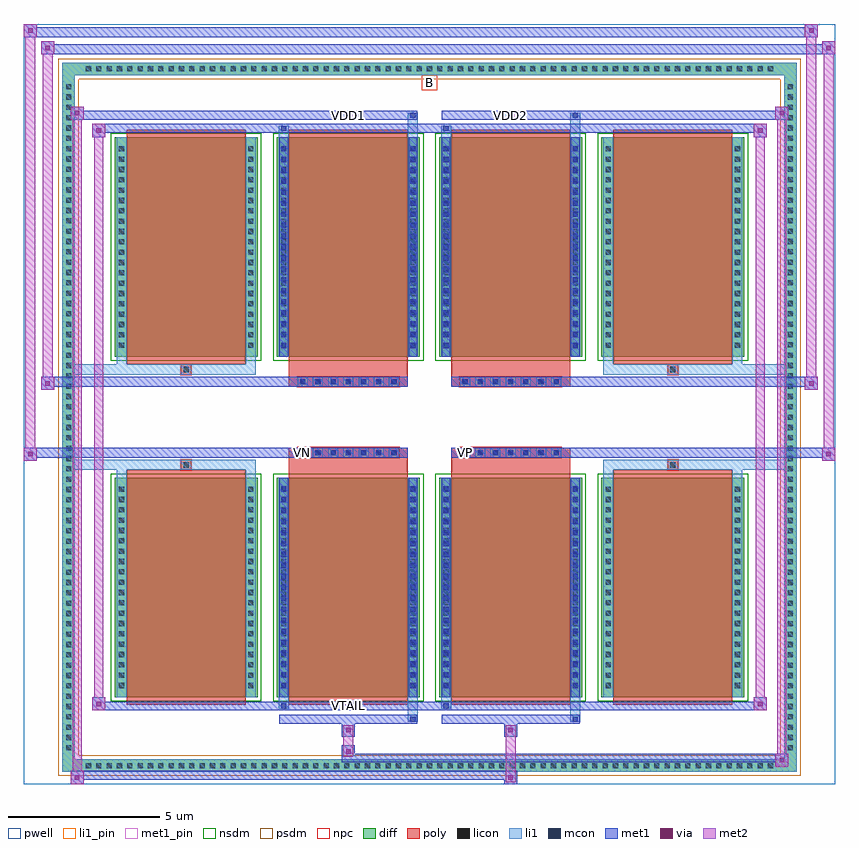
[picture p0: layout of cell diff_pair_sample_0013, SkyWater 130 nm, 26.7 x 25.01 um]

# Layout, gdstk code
import gdstk
lib = gdstk.Library(unit=1e-6, precision=5e-09)
def R(c, l, rs):  # rectangles x0, y0, x1, y1
    for r in rs: c.add(gdstk.rectangle(r[:2], r[2:], *l))
def A(c, l, x, y, w, h, nx, ny, dx, dy):  # array of equal rectangles
    R(c, l, [(x+i*dx, y+j*dy, x+i*dx+w, y+j*dy+h) for i in range(nx) for j in range(ny)])
def P(c, l, *ps):  # polygons
    for p in ps: c.add(gdstk.Polygon(p, *l))
pwell = (64, 44)
diff = (65, 20)
poly = (66, 20)
licon = (66, 44)
li1_pin = (67, 16)
li1 = (67, 20)
mcon = (67, 44)
met1_pin = (68, 16)
met1 = (68, 20)
via = (68, 44)
met2 = (69, 20)
nsdm = (93, 44)
psdm = (94, 20)
npc = (95, 20)

diff_pair_sample_0013 = lib.new_cell('diff_pair_sample_0013')
R(diff_pair_sample_0013, pwell, [(-13.35,-12.07,13.35,12.94), (-10.67,-10.26,-0.01,-0.8), (0.01,-10.26,10.67,-0.8), (-10.67,0.8,-0.01,10.26), (0.01,0.8,10.67,10.26)])
A(diff_pair_sample_0013, diff, -11.425, -11.67, 0.41, 0.41, 67, 2, 0.34, 22.93)
A(diff_pair_sample_0013, diff, -12.08, -11.085, 0.41, 0.41, 1, 65, 0, 0.34)
A(diff_pair_sample_0013, diff, 11.67, -11.085, 0.41, 0.41, 1, 65, 0, 0.34)
A(diff_pair_sample_0013, diff, -10.36, -9.215, 4.7, 7.23, 4, 2, 5.34, 11.2)
R(diff_pair_sample_0013, diff, [(-11.425,-11.67,11.425,-11.26), (-12.08,-11.085,-11.67,11.085), (11.67,-11.085,12.08,11.085), (-11.425,11.26,11.425,11.67)])
P(diff_pair_sample_0013, diff, [(12.08,11.67),(-12.08,11.67),(-12.08,-11.26),(-11.67,-11.26),(-11.67,11.26),(11.67,11.26),(11.67,-11.26),(-11.67,-11.26),(-12.08,-11.26),(-12.08,-11.67),(12.08,-11.67)])
A(diff_pair_sample_0013, poly, -9.97, -9.465, 3.92, 7.73, 4, 2, 5.34, 11.2)
A(diff_pair_sample_0013, poly, -4.335, -1.33, 0.33, 0.33, 7, 2, 0.5, 2.33)
A(diff_pair_sample_0013, poly, 1.005, -1.33, 0.33, 0.33, 7, 2, 0.5, 2.33)
R(diff_pair_sample_0013, poly, [(-8.175,-1.735,-7.845,-1.405), (-8.175,-1.735,-7.845,-1.405), (-4.63,-1.735,-0.71,-1.33), (0.71,-1.735,4.63,-1.33), (7.845,-1.735,8.175,-1.405), (7.845,-1.735,8.175,-1.405), (-4.63,-1.33,-0.71,-1), (0.71,-1.33,4.63,-1), (-4.63,1,-0.71,1.33), (0.71,1,4.63,1.33), (-4.63,1.33,-0.71,1.735), (0.71,1.33,4.63,1.735), (-8.175,1.405,-7.845,1.735), (-8.175,1.405,-7.845,1.735), (7.845,1.405,8.175,1.735), (7.845,1.405,8.175,1.735)])
A(diff_pair_sample_0013, licon, -11.305, -11.55, 0.17, 0.17, 67, 2, 0.34, 22.93)
A(diff_pair_sample_0013, licon, -11.96, -10.965, 0.17, 0.17, 1, 65, 0, 0.34)
A(diff_pair_sample_0013, licon, 11.79, -10.965, 0.17, 0.17, 1, 65, 0, 0.34)
A(diff_pair_sample_0013, licon, -10.22, -8.915, 0.17, 0.17, 1, 20, 0, 0.34)
A(diff_pair_sample_0013, licon, -5.97, -8.915, 0.17, 0.17, 1, 20, 0, 0.34)
A(diff_pair_sample_0013, licon, -4.88, -8.915, 0.17, 0.17, 1, 20, 0, 0.34)
A(diff_pair_sample_0013, licon, -0.63, -8.915, 0.17, 0.17, 1, 20, 0, 0.34)
A(diff_pair_sample_0013, licon, 0.46, -8.915, 0.17, 0.17, 1, 20, 0, 0.34)
A(diff_pair_sample_0013, licon, 4.71, -8.915, 0.17, 0.17, 1, 20, 0, 0.34)
A(diff_pair_sample_0013, licon, 5.8, -8.915, 0.17, 0.17, 1, 20, 0, 0.34)
A(diff_pair_sample_0013, licon, 10.05, -8.915, 0.17, 0.17, 1, 20, 0, 0.34)
A(diff_pair_sample_0013, licon, -4.255, -1.25, 0.17, 0.17, 7, 2, 0.5, 2.33)
A(diff_pair_sample_0013, licon, 1.085, -1.25, 0.17, 0.17, 7, 2, 0.5, 2.33)
A(diff_pair_sample_0013, licon, -10.22, 2.285, 0.17, 0.17, 1, 20, 0, 0.34)
A(diff_pair_sample_0013, licon, -5.97, 2.285, 0.17, 0.17, 1, 20, 0, 0.34)
A(diff_pair_sample_0013, licon, -4.88, 2.285, 0.17, 0.17, 1, 20, 0, 0.34)
A(diff_pair_sample_0013, licon, -0.63, 2.285, 0.17, 0.17, 1, 20, 0, 0.34)
A(diff_pair_sample_0013, licon, 0.46, 2.285, 0.17, 0.17, 1, 20, 0, 0.34)
A(diff_pair_sample_0013, licon, 4.71, 2.285, 0.17, 0.17, 1, 20, 0, 0.34)
A(diff_pair_sample_0013, licon, 5.8, 2.285, 0.17, 0.17, 1, 20, 0, 0.34)
A(diff_pair_sample_0013, licon, 10.05, 2.285, 0.17, 0.17, 1, 20, 0, 0.34)
R(diff_pair_sample_0013, licon, [(-8.095,-1.655,-7.925,-1.485), (7.925,-1.655,8.095,-1.485), (-8.095,1.485,-7.925,1.655), (7.925,1.485,8.095,1.655)])
R(diff_pair_sample_0013, li1_pin, [(-0.25,10.76,0.25,11.26)])
A(diff_pair_sample_0013, li1, -11.385, -11.63, 0.33, 0.33, 67, 2, 0.34, 22.93)
A(diff_pair_sample_0013, li1, -12.04, -11.045, 0.33, 0.33, 1, 65, 0, 0.34)
A(diff_pair_sample_0013, li1, 11.71, -11.045, 0.33, 0.33, 1, 65, 0, 0.34)
A(diff_pair_sample_0013, li1, -10.3, -8.995, 0.33, 0.33, 1, 20, 0, 0.34)
A(diff_pair_sample_0013, li1, -6.05, -8.995, 0.33, 0.33, 1, 20, 0, 0.34)
A(diff_pair_sample_0013, li1, -4.96, -8.995, 0.33, 0.33, 1, 20, 0, 0.34)
A(diff_pair_sample_0013, li1, -0.71, -8.995, 0.33, 0.33, 1, 20, 0, 0.34)
A(diff_pair_sample_0013, li1, 0.38, -8.995, 0.33, 0.33, 1, 20, 0, 0.34)
A(diff_pair_sample_0013, li1, 4.63, -8.995, 0.33, 0.33, 1, 20, 0, 0.34)
A(diff_pair_sample_0013, li1, 5.72, -8.995, 0.33, 0.33, 1, 20, 0, 0.34)
A(diff_pair_sample_0013, li1, 9.97, -8.995, 0.33, 0.33, 1, 20, 0, 0.34)
A(diff_pair_sample_0013, li1, -4.88, -8.925, 0.17, 0.17, 1, 19, 0, 0.36)
A(diff_pair_sample_0013, li1, -0.63, -8.925, 0.17, 0.17, 1, 19, 0, 0.36)
A(diff_pair_sample_0013, li1, 0.46, -8.925, 0.17, 0.17, 1, 19, 0, 0.36)
A(diff_pair_sample_0013, li1, 4.71, -8.925, 0.17, 0.17, 1, 19, 0, 0.36)
A(diff_pair_sample_0013, li1, -4.335, -1.33, 0.33, 0.33, 7, 2, 0.5, 2.33)
A(diff_pair_sample_0013, li1, 1.005, -1.33, 0.33, 0.33, 7, 2, 0.5, 2.33)
A(diff_pair_sample_0013, li1, -10.3, 2.205, 0.33, 0.33, 1, 20, 0, 0.34)
A(diff_pair_sample_0013, li1, -6.05, 2.205, 0.33, 0.33, 1, 20, 0, 0.34)
A(diff_pair_sample_0013, li1, -4.96, 2.205, 0.33, 0.33, 1, 20, 0, 0.34)
A(diff_pair_sample_0013, li1, -0.71, 2.205, 0.33, 0.33, 1, 20, 0, 0.34)
A(diff_pair_sample_0013, li1, 0.38, 2.205, 0.33, 0.33, 1, 20, 0, 0.34)
A(diff_pair_sample_0013, li1, 4.63, 2.205, 0.33, 0.33, 1, 20, 0, 0.34)
A(diff_pair_sample_0013, li1, 5.72, 2.205, 0.33, 0.33, 1, 20, 0, 0.34)
A(diff_pair_sample_0013, li1, 9.97, 2.205, 0.33, 0.33, 1, 20, 0, 0.34)
A(diff_pair_sample_0013, li1, -4.88, 2.275, 0.17, 0.17, 1, 19, 0, 0.36)
A(diff_pair_sample_0013, li1, -0.63, 2.275, 0.17, 0.17, 1, 19, 0, 0.36)
A(diff_pair_sample_0013, li1, 0.46, 2.275, 0.17, 0.17, 1, 19, 0, 0.36)
A(diff_pair_sample_0013, li1, 4.71, 2.275, 0.17, 0.17, 1, 19, 0, 0.36)
R(diff_pair_sample_0013, li1, [(-12.08,-11.67,-11.67,-11.26), (-12.08,-11.67,-11.67,-11.26), (-11.67,-11.67,11.67,-11.26), (11.67,-11.67,12.08,-11.26), (11.67,-11.67,12.08,-11.26), (-12.08,-11.26,-11.67,11.26), (11.67,-11.26,12.08,11.26), (-0.71,-10.02,-0.38,-9.215), (-0.63,-10.02,-0.46,-9.85), (4.63,-10.02,4.96,-9.215), (4.71,-10.02,4.88,-9.85), (-4.96,-9.59,-4.63,-9.215), (-4.88,-9.59,-4.71,-9.42), (0.38,-9.59,0.71,-9.215), (0.46,-9.59,0.63,-9.42), (-10.3,-9.215,-9.97,-1.985), (-6.05,-9.215,-5.72,-1.985), (-4.96,-9.215,-4.63,-1.985), (-0.71,-9.215,-0.38,-1.985), (0.38,-9.215,0.71,-1.985), (4.63,-9.215,4.96,-1.985), (5.72,-9.215,6.05,-1.985), (9.97,-9.215,10.3,-1.985), (-4.88,-8.925,-4.71,-2.275), (-0.63,-8.925,-0.46,-2.275), (0.46,-8.925,0.63,-2.275), (4.71,-8.925,4.88,-2.275), (-10.3,-1.985,-9.97,-1.405), (-6.05,-1.985,-5.72,-1.405), (5.72,-1.985,6.05,-1.405), (9.97,-1.985,10.3,-1.405), (-12.08,-1.735,-8.175,-1.405), (-10.3,-1.735,-8.175,-1.405), (-8.175,-1.735,-7.845,-1.405), (-7.845,-1.735,-5.72,-1.405), (5.72,-1.735,7.845,-1.405), (7.845,-1.735,8.175,-1.405), (7.845,-1.735,12.08,-1.405), (8.175,-1.735,10.3,-1.405), (-12.08,1.405,-8.175,1.735), (-10.3,1.405,-8.175,1.735), (-10.3,1.405,-9.97,1.985), (-8.175,1.405,-7.845,1.735), (-7.845,1.405,-5.72,1.735), (-6.05,1.405,-5.72,1.985), (5.72,1.405,7.845,1.735), (5.72,1.405,6.05,1.985), (7.845,1.405,8.175,1.735), (7.845,1.405,12.08,1.735), (8.175,1.405,10.3,1.735), (9.97,1.405,10.3,1.985), (-10.3,1.985,-9.97,9.215), (-6.05,1.985,-5.72,9.215), (-4.96,1.985,-4.63,9.215), (-0.71,1.985,-0.38,9.215), (0.38,1.985,0.71,9.215), (4.63,1.985,4.96,9.215), (5.72,1.985,6.05,9.215), (9.97,1.985,10.3,9.215), (-4.88,2.275,-4.71,8.925), (-0.63,2.275,-0.46,8.925), (0.46,2.275,0.63,8.925), (4.71,2.275,4.88,8.925), (-4.96,9.215,-4.63,9.59), (-0.71,9.215,-0.38,10.02), (0.38,9.215,0.71,9.59), (4.63,9.215,4.96,10.02), (-4.88,9.42,-4.71,9.59), (0.46,9.42,0.63,9.59), (-0.63,9.85,-0.46,10.02), (4.71,9.85,4.88,10.02), (-12.08,11.26,-11.67,11.67), (-12.08,11.26,-11.67,11.67), (-11.67,11.26,11.67,11.67), (11.67,11.26,12.08,11.67), (11.67,11.26,12.08,11.67)])
A(diff_pair_sample_0013, mcon, -4.88, -8.925, 0.17, 0.17, 1, 19, 0, 0.36)
A(diff_pair_sample_0013, mcon, -0.63, -8.925, 0.17, 0.17, 1, 19, 0, 0.36)
A(diff_pair_sample_0013, mcon, 0.46, -8.925, 0.17, 0.17, 1, 19, 0, 0.36)
A(diff_pair_sample_0013, mcon, 4.71, -8.925, 0.17, 0.17, 1, 19, 0, 0.36)
A(diff_pair_sample_0013, mcon, -4.255, -1.25, 0.17, 0.17, 7, 2, 0.5, 2.33)
A(diff_pair_sample_0013, mcon, 1.085, -1.25, 0.17, 0.17, 7, 2, 0.5, 2.33)
A(diff_pair_sample_0013, mcon, -4.88, 2.275, 0.17, 0.17, 1, 19, 0, 0.36)
A(diff_pair_sample_0013, mcon, -0.63, 2.275, 0.17, 0.17, 1, 19, 0, 0.36)
A(diff_pair_sample_0013, mcon, 0.46, 2.275, 0.17, 0.17, 1, 19, 0, 0.36)
A(diff_pair_sample_0013, mcon, 4.71, 2.275, 0.17, 0.17, 1, 19, 0, 0.36)
R(diff_pair_sample_0013, mcon, [(-0.63,-10.02,-0.46,-9.85), (4.71,-10.02,4.88,-9.85), (-4.88,-9.59,-4.71,-9.42), (0.46,-9.59,0.63,-9.42), (-4.88,9.42,-4.71,9.59), (0.46,9.42,0.63,9.59), (-0.63,9.85,-0.46,10.02), (4.71,9.85,4.88,10.02)])
R(diff_pair_sample_0013, met1_pin, [(-2.805,-9.63,-2.535,-9.36), (-4.305,-1.29,-4.035,-1.02), (1.035,-1.29,1.305,-1.02), (-2.805,9.81,-2.535,10.08), (2.535,9.81,2.805,10.08)])
A(diff_pair_sample_0013, met1, -4.94, -8.985, 0.29, 0.29, 1, 19, 0, 0.36)
A(diff_pair_sample_0013, met1, -0.69, -8.985, 0.29, 0.29, 1, 19, 0, 0.36)
A(diff_pair_sample_0013, met1, 0.4, -8.985, 0.29, 0.29, 1, 19, 0, 0.36)
A(diff_pair_sample_0013, met1, 4.65, -8.985, 0.29, 0.29, 1, 19, 0, 0.36)
A(diff_pair_sample_0013, met1, -4.315, -1.31, 0.29, 0.29, 7, 2, 0.5, 2.33)
A(diff_pair_sample_0013, met1, 1.025, -1.31, 0.29, 0.29, 7, 2, 0.5, 2.33)
A(diff_pair_sample_0013, met1, -4.94, 2.215, 0.29, 0.29, 1, 19, 0, 0.36)
A(diff_pair_sample_0013, met1, -0.69, 2.215, 0.29, 0.29, 1, 19, 0, 0.36)
A(diff_pair_sample_0013, met1, 0.4, 2.215, 0.29, 0.29, 1, 19, 0, 0.36)
A(diff_pair_sample_0013, met1, 4.65, 2.215, 0.29, 0.29, 1, 19, 0, 0.36)
R(diff_pair_sample_0013, met1, [(-11.81,-12.07,-11.38,-11.64), (2.455,-12.07,2.885,-11.64), (-11.81,-11.93,2.885,-11.64), (11.38,-11.5,11.81,-11.07), (-2.885,-11.36,11.81,-11.07), (-2.885,-11.22,-2.455,-10.79), (-2.885,-10.51,-2.455,-10.08), (2.455,-10.51,2.885,-10.08), (-4.94,-10.08,-0.4,-9.79), (-0.69,-10.08,-0.4,-9.79), (0.4,-10.08,4.94,-9.79), (4.65,-10.08,4.94,-9.79), (-11.1,-9.65,-10.67,-9.22), (-11.1,-9.65,-4.94,-9.36), (-4.94,-9.65,-4.65,-9.36), (-4.94,-9.65,-0.4,-9.36), (-0.4,-9.65,0.4,-9.36), (0.4,-9.65,0.69,-9.36), (0.4,-9.65,4.94,-9.36), (4.94,-9.65,11.1,-9.36), (10.67,-9.65,11.1,-9.22), (-4.94,-9.215,-4.65,-1.985), (-0.69,-9.215,-0.4,-1.985), (0.4,-9.215,0.69,-1.985), (4.65,-9.215,4.94,-1.985), (-13.35,-1.43,-12.92,-1), (12.92,-1.43,13.35,-1), (-13.35,-1.33,-0.71,-1), (-4.63,-1.33,-0.71,-1), (0.71,-1.33,4.63,-1), (0.71,-1.33,13.35,-1), (-12.78,0.9,-12.35,1.33), (12.35,0.9,12.78,1.33), (-12.78,1,-4.63,1.33), (-4.63,1,-0.71,1.33), (0.71,1,4.63,1.33), (4.63,1,12.78,1.33), (-4.94,1.985,-4.65,9.215), (-0.69,1.985,-0.4,9.215), (0.4,1.985,0.69,9.215), (4.65,1.985,4.94,9.215), (-11.1,9.22,-10.67,9.65), (10.67,9.22,11.1,9.65), (-11.1,9.36,-4.94,9.65), (-4.94,9.36,-4.65,9.65), (-4.94,9.36,-0.4,9.65), (-0.4,9.36,0.4,9.65), (0.4,9.36,0.69,9.65), (0.4,9.36,4.94,9.65), (4.94,9.36,11.1,9.65), (-11.81,9.79,-11.38,10.22), (-11.81,9.79,-4.94,10.08), (-4.94,9.79,-0.4,10.08), (-0.69,9.79,-0.4,10.08), (0.4,9.79,4.94,10.08), (4.65,9.79,4.94,10.08), (4.94,9.79,11.81,10.08), (11.38,9.79,11.81,10.22), (-12.78,11.94,-12.35,12.37), (-12.78,11.94,-10.67,12.27), (-10.67,11.94,10.67,12.27), (10.67,11.94,13.35,12.27), (12.92,11.94,13.35,12.37), (-13.35,12.51,-12.92,12.94), (-13.35,12.51,-10.67,12.84), (-10.67,12.51,10.67,12.84), (10.67,12.51,12.78,12.84), (12.35,12.51,12.78,12.94)])
R(diff_pair_sample_0013, via, [(-11.67,-11.93,-11.52,-11.78), (2.595,-11.93,2.745,-11.78), (11.52,-11.36,11.67,-11.21), (-2.745,-11.08,-2.595,-10.93), (-2.745,-10.37,-2.595,-10.22), (2.595,-10.37,2.745,-10.22), (-10.96,-9.51,-10.81,-9.36), (10.81,-9.51,10.96,-9.36), (-13.21,-1.29,-13.06,-1.14), (13.06,-1.29,13.21,-1.14), (-12.64,1.04,-12.49,1.19), (12.49,1.04,12.64,1.19), (-10.96,9.36,-10.81,9.51), (10.81,9.36,10.96,9.51), (-11.67,9.93,-11.52,10.08), (11.52,9.93,11.67,10.08), (-12.64,12.08,-12.49,12.23), (13.06,12.08,13.21,12.23), (-13.21,12.65,-13.06,12.8), (12.49,12.65,12.64,12.8)])
R(diff_pair_sample_0013, met2, [(-11.81,-12.07,-11.38,-11.64), (-11.74,-12.07,-11.45,10.22), (-11.45,-12.07,-11.38,-11.64), (-11.76,-12.02,-11.43,-11.69), (2.505,-12.02,2.835,-11.69), (2.505,-11.69,2.835,-10.46), (11.38,-11.5,11.81,-11.07), (11.45,-11.5,11.74,10.22), (11.74,-11.5,11.81,-11.07), (11.43,-11.45,11.76,-11.12), (-2.835,-11.17,-2.505,-10.84), (-2.835,-10.84,-2.505,-10.46), (-2.835,-10.46,-2.505,-10.13), (2.505,-10.46,2.835,-10.13), (-11.1,-9.65,-10.67,-9.22), (-11.03,-9.65,-10.74,9.65), (-10.74,-9.65,-10.67,-9.22), (10.67,-9.65,11.1,-9.22), (10.74,-9.65,11.03,9.65), (11.03,-9.65,11.1,-9.22), (-11.05,-9.6,-10.72,-9.27), (10.72,-9.6,11.05,-9.27), (-13.35,-1.43,-12.92,-1), (-13.3,-1.43,-12.97,12.94), (-12.97,-1.43,-12.92,-1), (12.92,-1.43,13.35,-1), (12.97,-1.43,13.3,12.37), (13.3,-1.43,13.35,-1), (-13.3,-1.38,-12.97,-1.05), (12.97,-1.38,13.3,-1.05), (-12.78,0.9,-12.35,1.33), (-12.73,0.9,-12.4,12.37), (-12.4,0.9,-12.35,1.33), (12.35,0.9,12.78,1.33), (12.4,0.9,12.73,12.94), (12.73,0.9,12.78,1.33), (-12.73,0.95,-12.4,1.28), (12.4,0.95,12.73,1.28), (-11.1,9.22,-10.67,9.65), (-10.74,9.22,-10.67,9.65), (10.67,9.22,11.1,9.65), (11.03,9.22,11.1,9.65), (-11.05,9.27,-10.72,9.6), (10.72,9.27,11.05,9.6), (-11.81,9.79,-11.38,10.22), (-11.45,9.79,-11.38,10.22), (11.38,9.79,11.81,10.22), (11.74,9.79,11.81,10.22), (-11.76,9.84,-11.43,10.17), (11.43,9.84,11.76,10.17), (-12.78,11.94,-12.35,12.37), (-12.4,11.94,-12.35,12.37), (12.92,11.94,13.35,12.37), (13.3,11.94,13.35,12.37), (-12.73,11.99,-12.4,12.32), (12.97,11.99,13.3,12.32), (-13.35,12.51,-12.92,12.94), (-12.97,12.51,-12.92,12.94), (12.35,12.51,12.78,12.94), (12.73,12.51,12.78,12.94), (-13.3,12.56,-12.97,12.89), (12.4,12.56,12.73,12.89)])
A(diff_pair_sample_0013, nsdm, -10.49, -9.345, 4.96, 7.49, 4, 2, 5.34, 11.2)
P(diff_pair_sample_0013, psdm, [(12.21,11.8),(-12.21,11.8),(-12.21,-11.13),(-11.54,-11.13),(-11.54,11.13),(11.54,11.13),(11.54,-11.13),(-11.54,-11.13),(-12.21,-11.13),(-12.21,-11.8),(12.21,-11.8)])
A(diff_pair_sample_0013, npc, -4.355, -1.35, 0.37, 0.37, 7, 2, 0.5, 2.33)
A(diff_pair_sample_0013, npc, 0.985, -1.35, 0.37, 0.37, 7, 2, 0.5, 2.33)
R(diff_pair_sample_0013, npc, [(-8.195,-1.755,-7.825,-1.385), (7.825,-1.755,8.195,-1.385), (-4.355,-1.35,-3.485,-0.98), (-4.355,-1.35,-3.485,-0.98), (-3.855,-1.35,-2.985,-0.98), (-3.855,-1.35,-2.985,-0.98), (-3.355,-1.35,-2.485,-0.98), (-3.355,-1.35,-2.485,-0.98), (-2.855,-1.35,-1.985,-0.98), (-2.855,-1.35,-1.985,-0.98), (-2.355,-1.35,-1.485,-0.98), (-2.355,-1.35,-1.485,-0.98), (-1.855,-1.35,-0.985,-0.98), (-1.855,-1.35,-0.985,-0.98), (0.985,-1.35,1.855,-0.98), (0.985,-1.35,1.855,-0.98), (1.485,-1.35,2.355,-0.98), (1.485,-1.35,2.355,-0.98), (1.985,-1.35,2.855,-0.98), (1.985,-1.35,2.855,-0.98), (2.485,-1.35,3.355,-0.98), (2.485,-1.35,3.355,-0.98), (2.985,-1.35,3.855,-0.98), (2.985,-1.35,3.855,-0.98), (3.485,-1.35,4.355,-0.98), (3.485,-1.35,4.355,-0.98), (-4.355,0.98,-3.485,1.35), (-4.355,0.98,-3.485,1.35), (-3.855,0.98,-2.985,1.35), (-3.855,0.98,-2.985,1.35), (-3.355,0.98,-2.485,1.35), (-3.355,0.98,-2.485,1.35), (-2.855,0.98,-1.985,1.35), (-2.855,0.98,-1.985,1.35), (-2.355,0.98,-1.485,1.35), (-2.355,0.98,-1.485,1.35), (-1.855,0.98,-0.985,1.35), (-1.855,0.98,-0.985,1.35), (0.985,0.98,1.855,1.35), (0.985,0.98,1.855,1.35), (1.485,0.98,2.355,1.35), (1.485,0.98,2.355,1.35), (1.985,0.98,2.855,1.35), (1.985,0.98,2.855,1.35), (2.485,0.98,3.355,1.35), (2.485,0.98,3.355,1.35), (2.985,0.98,3.855,1.35), (2.985,0.98,3.855,1.35), (3.485,0.98,4.355,1.35), (3.485,0.98,4.355,1.35), (-8.195,1.385,-7.825,1.755), (7.825,1.385,8.195,1.755)])
diff_pair_sample_0013.add(gdstk.Label('VTAIL', (-2.67,-9.495), layer=68, texttype=5))
diff_pair_sample_0013.add(gdstk.Label('VN', (-4.17,-1.155), layer=68, texttype=5))
diff_pair_sample_0013.add(gdstk.Label('VP', (1.17,-1.155), layer=68, texttype=5))
diff_pair_sample_0013.add(gdstk.Label('B', (0,11.01), layer=67, texttype=5))
diff_pair_sample_0013.add(gdstk.Label('VDD2', (2.67,9.945), layer=68, texttype=5))
diff_pair_sample_0013.add(gdstk.Label('VDD1', (-2.67,9.945), layer=68, texttype=5))

lib.write_gds('diff_pair_sample_0013.gds')
